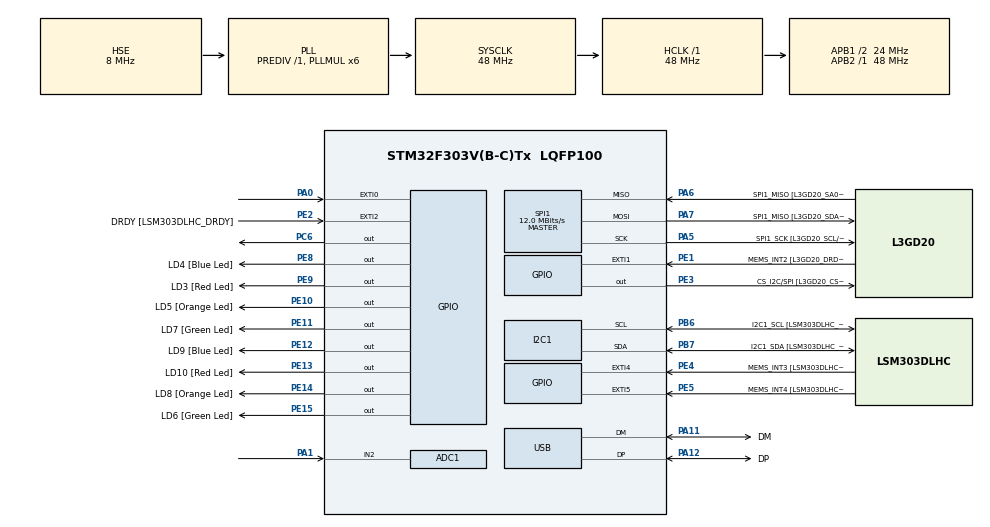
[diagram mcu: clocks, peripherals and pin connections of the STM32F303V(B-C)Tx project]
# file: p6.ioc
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ADC1.Channel-0\#ChannelRegularConversion=ADC_CHANNEL_2
ADC1.NbrOfConversionFlag=1
ADC1.Offset-0\#ChannelRegularConversion=0
ADC1.OffsetNumber-0\#ChannelRegularConversion=ADC_OFFSET_NONE
ADC1.Rank-0\#ChannelRegularConversion=1
ADC1.SamplingTime-0\#ChannelRegularConversion=ADC_SAMPLETIME_601CYCLES_5
ADC1.SamplingTimeOPAMP-0\#ChannelRegularConversion=ADC_SAMPLETIME_19CYCLES_5
ADC1.master=1
I2C1.Timing-I2C=0x2000090E
Mcu.Family=STM32F3
Mcu.Name=STM32F303V(B-C)Tx
Mcu.Package=LQFP100
NVIC.ADC1_2_IRQn=true\:1\:0\:true\:false\:true\:true\:true
NVIC.EXTI0_IRQn=true\:1\:0\:true\:false\:true\:true\:true
NVIC.PriorityGroup=NVIC_PRIORITYGROUP_1
NVIC.TIM2_IRQn=true\:1\:0\:true\:false\:true\:true\:true
NVIC.TIM3_IRQn=true\:0\:0\:false\:false\:true\:true\:true
PA0.GPIO_PuPd=GPIO_PULLDOWN
PA0.Signal=GPXTI0
PA1.Mode=IN2-Single-Ended
PA1.Signal=ADC1_IN2
PA11.GPIO_Label=DM
PA11.Mode=Device
PA11.Signal=USB_DM
PA12.GPIO_Label=DP
PA12.Mode=Device
PA12.Signal=USB_DP
PA13.GPIO_Label=SWDIO
PA13.Mode=Serial_Wire
PA13.Signal=SYS_JTMS-SWDIO
PA14.GPIO_Label=SWCLK
PA14.Mode=Serial_Wire
PA14.Signal=SYS_JTCK-SWCLK
PA5.GPIO_Label=SPI1_SCK [L3GD20_SCL/SPC]
PA5.Mode=Full_Duplex_Master
PA5.Signal=SPI1_SCK
PA6.GPIO_Label=SPI1_MISO [L3GD20_SA0/SDO]
PA6.Mode=Full_Duplex_Master
PA6.Signal=SPI1_MISO
PA7.GPIO_Label=SPI1_MISO [L3GD20_SDA/SDI/SDO]
PA7.Mode=Full_Duplex_Master
PA7.Signal=SPI1_MOSI
PB3.GPIO_Label=SWO
PB3.Signal=SYS_JTDO-TRACESWO
PB6.GPIO_Label=I2C1_SCL [LSM303DLHC_SCL]
PB6.GPIO_Pu=GPIO_PULLUP
PB6.Mode=I2C
PB6.Signal=I2C1_SCL
PB7.GPIO_Label=I2C1_SDA [LSM303DLHC_SDA]
PB7.GPIO_Pu=GPIO_PULLUP
PB7.Mode=I2C
PB7.Signal=I2C1_SDA
PC14-OSC32_IN.GPIO_Label=OSC32_IN
PC14-OSC32_IN.Signal=RCC_OSC32_IN
PC15-OSC32_OUT.GPIO_Label=OSC32_OUT
PC15-OSC32_OUT.Signal=RCC_OSC32_OUT
PC6.GPIO_PuPd=GPIO_PULLDOWN
PC6.GPIO_Speed=GPIO_SPEED_FREQ_HIGH
PC6.PinState=GPIO_PIN_SET
PC6.Signal=GPIO_Output
PE1.GPIO_Label=MEMS_INT2 [L3GD20_DRDY/INT2]
PE1.GPIO_ModeDefaultEXTI=GPIO_MODE_EVT_RISING
PE1.Signal=GPXTI1
PE10.GPIO_Label=LD5 [Orange Led]
PE10.Signal=GPIO_Output
PE11.GPIO_Label=LD7 [Green Led]
PE11.Signal=GPIO_Output
PE12.GPIO_Label=LD9 [Blue Led]
PE12.Signal=GPIO_Output
PE13.GPIO_Label=LD10 [Red Led]
PE13.Signal=GPIO_Output
PE14.GPIO_Label=LD8 [Orange Led]
PE14.Signal=GPIO_Output
PE15.GPIO_Label=LD6 [Green Led]
PE15.Signal=GPIO_Output
PE2.GPIO_Label=DRDY [LSM303DLHC_DRDY]
PE2.GPIO_ModeDefaultEXTI=GPIO_MODE_EVT_RISING
PE2.Signal=GPXTI2
PE3.GPIO_Label=CS_I2C/SPI [L3GD20_CS_I2C/SPI]
PE3.Signal=GPIO_Output
PE4.GPIO_Label=MEMS_INT3 [LSM303DLHC_INT1]
PE4.GPIO_ModeDefaultEXTI=GPIO_MODE_EVT_RISING
PE4.Signal=GPXTI4
PE5.GPIO_Label=MEMS_INT4 [LSM303DLHC_INT2]
PE5.GPIO_ModeDefaultEXTI=GPIO_MODE_EVT_RISING
PE5.Signal=GPXTI5
PE8.GPIO_Label=LD4 [Blue Led]
PE8.Signal=GPIO_Output
PE9.GPIO_Label=LD3 [Red Led]
PE9.Signal=GPIO_Output
PF0-OSC_IN.GPIO_Label=OSC_IN
PF0-OSC_IN.Mode=HSE-External-Clock-Source
PF0-OSC_IN.Signal=RCC_OSC_IN
PF1-OSC_OUT.GPIO_Label=OSC_OUT
PF1-OSC_OUT.Signal=RCC_OSC_OUT
ProjectManager.HeapSize=0x200
ProjectManager.StackSize=0x400
ProjectManager.TargetToolchain=STM32CubeIDE
RCC.AHBFreq_Value=48000000
RCC.APB1CLKDivider=RCC_HCLK_DIV2
RCC.APB1Freq_Value=24000000
RCC.APB1TimFreq_Value=48000000
RCC.APB2Freq_Value=48000000
RCC.APB2TimFreq_Value=48000000
RCC.CortexFreq_Value=48000000
RCC.HCLKFreq_Value=48000000
RCC.HSE_VALUE=8000000
RCC.HSI_VALUE=8000000
RCC.LSE_VALUE=32768
RCC.PLLMUL=RCC_PLL_MUL6
RCC.SYSCLKFreq_VALUE=48000000
RCC.SYSCLKSourceVirtual=RCC_SYSCLKSOURCE_PLLCLK
RCC.USBFreq_Value=48000000
RTC.AsynchPrediv=39
RTC.SynchPrediv=999
SPI1.BaudRatePrescaler=SPI_BAUDRATEPRESCALER_4
SPI1.BaudRatePrescaler-Full_Duplex_Master=SPI_BAUDRATEPRESCALER_2
SPI1.CalculateBaudRate=12.0 MBits/s
SPI1.CalculateBaudRate-Full_Duplex_Master=24.0 MBits/s
SPI1.Direction=SPI_DIRECTION_2LINES
SPI1.Mode=SPI_MODE_MASTER
SPI1.Mode-Full_Duplex_Master=SPI_MODE_MASTER
SPI1.VirtualType=VM_MASTER
TIM2.Period=9999
TIM2.Prescaler=4799
TIM3.Period=9999
TIM3.Prescaler=9599
VP_RTC_VS_RTC_Activate.Mode=RTC_Enabled
VP_RTC_VS_RTC_Calendar.Mode=RTC_Calendar
VP_TIM2_VS_ClockSourceINT.Mode=Internal
VP_TIM3_VS_ClockSourceINT.Mode=Internal
board=STM32F3DISCOVERY

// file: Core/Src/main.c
/* USER CODE BEGIN Header */
/**
  ******************************************************************************
  * @file           : main.c
  * @brief          : Main program body
  ******************************************************************************
  * @attention
  *
  * <h2><center>&copy; Copyright (c) 2022 STMicroelectronics.
  * All rights reserved.</center></h2>
  *
  * This software component is licensed by ST under BSD 3-Clause license,
  * the "License"; You may not use this file except in compliance with the
  * License. You may obtain a copy of the License at:
  *                        opensource.org/licenses/BSD-3-Clause
  *
  ******************************************************************************
  */
/* USER CODE END Header */
#include "main.h"

/* USER CODE BEGIN Includes */
#include "LiquidCrystal.h"
#include <stdio.h>
#include <stdlib.h>
/* USER CODE END Includes */

ADC_HandleTypeDef hadc1;

I2C_HandleTypeDef hi2c1;

RTC_HandleTypeDef hrtc;

SPI_HandleTypeDef hspi1;

TIM_HandleTypeDef htim2;
TIM_HandleTypeDef htim3;

PCD_HandleTypeDef hpcd_USB_FS;

void SystemClock_Config(void);
static void MX_GPIO_Init(void);
static void MX_I2C1_Init(void);
static void MX_SPI1_Init(void);
static void MX_USB_PCD_Init(void);
static void MX_ADC1_Init(void);
static void MX_RTC_Init(void);
static void MX_TIM2_Init(void);
static void MX_TIM3_Init(void);

/* USER CODE BEGIN 0 */
typedef unsigned char byte;

byte h[] = {
  0x00,
  0x04,
  0x0A,
  0x01,
  0x1F,
  0x00,
  0x00,
  0x00
};

byte r[] = {
  0x00,
  0x00,
  0x00,
  0x00,
  0x01,
  0x02,
  0x04,
  0x08
};

byte ka[] = {
  0x02,
  0x04,
  0x08,
  0x10,
  0x00,
  0x00,
  0x00,
  0x00
};

byte k[] = {
  0x00,
  0x00,
  0x00,
  0x00,
  0x01,
  0x01,
  0x09,
  0x1F
};

byte t[] = {
  0x00,
  0x00,
  0x00,
  0x00,
  0x00,
  0x05,
  0x10,
  0x1F
};

byte d[] = {
  0x00,
  0x00,
  0x0C,
  0x02,
  0x01,
  0x02,
  0x0C,
  0x00
};

byte y[] = {
  0x00,
  0x00,
  0x00,
  0x01,
  0x01,
  0x1F,
  0x00,
  0x0A
};

void warning() {
	//LiquidCrystal(GPIOD, GPIO_PIN_8, GPIO_PIN_9, GPIO_PIN_10, GPIO_PIN_11, GPIO_PIN_12, GPIO_PIN_13, GPIO_PIN_14);

	createChar(0, h);
	createChar(1, r);
	createChar(2, ka);
	createChar(3, k);
	createChar(4, t);

	createChar(5, d);
	createChar(6, y);
	createChar(7, d);

	setCursor(6,1);
	write(7);
	write(6);
	write(5);

	write(4);
	write(3);
	write(2);
	write(1);
	write(0);
}

RTC_DateTypeDef mydate;
RTC_TimeTypeDef mytime;

uint8_t Time[5];
uint8_t Date[9];
void timeAndDate() {
	LiquidCrystal(GPIOD, GPIO_PIN_8, GPIO_PIN_9, GPIO_PIN_10, GPIO_PIN_11, GPIO_PIN_12, GPIO_PIN_13, GPIO_PIN_14);

	mytime.Hours=12;
	mytime.Minutes=8;
	mytime.Seconds=50;

	HAL_RTC_SetTime(&hrtc, &mytime, RTC_FORMAT_BIN);

	mydate.Year=23;
	mydate.Month=1;
	mydate.Date=7;

	HAL_RTC_SetDate(&hrtc, &mydate, RTC_FORMAT_BIN);

}

void get_time_date() {
	HAL_RTC_GetTime(&hrtc, &mytime, RTC_FORMAT_BIN);
  	HAL_RTC_GetDate(&hrtc, &mydate, RTC_FORMAT_BIN);

  	setCursor(0,0);
	sprintf(Time, "%2d:%2d:%2d ", mytime.Hours, mytime.Minutes, mytime.Seconds);
	print(Time);

	sprintf(Date, "20%d/%d/%d", mydate.Year, mydate.Month, mydate.Date);
	print(Date);
}

/* USER CODE END 0 */

int main(void)
{

  /* MCU Configuration--------------------------------------------------------*/

  /* Reset of all peripherals, Initializes the Flash interface and the Systick. */
  HAL_Init();

  /* Configure the system clock */
  SystemClock_Config();

  /* Initialize all configured peripherals */
  MX_GPIO_Init();
  MX_I2C1_Init();
  MX_SPI1_Init();
  MX_USB_PCD_Init();
  MX_ADC1_Init();
  MX_RTC_Init();
  MX_TIM2_Init();
  MX_TIM3_Init();
  /* USER CODE BEGIN 2 */

  timeAndDate();

  HAL_TIM_Base_Start_IT(&htim2);
  HAL_ADC_Start_IT(&hadc1);
  HAL_TIM_Base_Start_IT(&htim3);

  //warning();

  //HAL_GPIO_WritePin(GPIOC, GPIO_PIN_6, 0);

  /* USER CODE END 2 */

  /* Infinite loop */
  while (1)
  {

  }
}

void SystemClock_Config(void)
{
  RCC_OscInitTypeDef RCC_OscInitStruct = {0};
  RCC_ClkInitTypeDef RCC_ClkInitStruct = {0};
  RCC_PeriphCLKInitTypeDef PeriphClkInit = {0};

  /** Initializes the RCC Oscillators according to the specified parameters
  * in the RCC_OscInitTypeDef structure.
  */
  RCC_OscInitStruct.OscillatorType = RCC_OSCILLATORTYPE_HSI|RCC_OSCILLATORTYPE_LSI
                              |RCC_OSCILLATORTYPE_HSE;
  RCC_OscInitStruct.HSEState = RCC_HSE_BYPASS;
  RCC_OscInitStruct.HSEPredivValue = RCC_HSE_PREDIV_DIV1;
  RCC_OscInitStruct.HSIState = RCC_HSI_ON;
  RCC_OscInitStruct.HSICalibrationValue = RCC_HSICALIBRATION_DEFAULT;
  RCC_OscInitStruct.LSIState = RCC_LSI_ON;
  RCC_OscInitStruct.PLL.PLLState = RCC_PLL_ON;
  RCC_OscInitStruct.PLL.PLLSource = RCC_PLLSOURCE_HSE;
  RCC_OscInitStruct.PLL.PLLMUL = RCC_PLL_MUL6;
  if (HAL_RCC_OscConfig(&RCC_OscInitStruct) != HAL_OK)
  {
    Error_Handler();
  }
  /** Initializes the CPU, AHB and APB buses clocks
  */
  RCC_ClkInitStruct.ClockType = RCC_CLOCKTYPE_HCLK|RCC_CLOCKTYPE_SYSCLK
                              |RCC_CLOCKTYPE_PCLK1|RCC_CLOCKTYPE_PCLK2;
  RCC_ClkInitStruct.SYSCLKSource = RCC_SYSCLKSOURCE_PLLCLK;
  RCC_ClkInitStruct.AHBCLKDivider = RCC_SYSCLK_DIV1;
  RCC_ClkInitStruct.APB1CLKDivider = RCC_HCLK_DIV2;
  RCC_ClkInitStruct.APB2CLKDivider = RCC_HCLK_DIV1;

  if (HAL_RCC_ClockConfig(&RCC_ClkInitStruct, FLASH_LATENCY_1) != HAL_OK)
  {
    Error_Handler();
  }
  PeriphClkInit.PeriphClockSelection = RCC_PERIPHCLK_USB|RCC_PERIPHCLK_I2C1
                              |RCC_PERIPHCLK_RTC|RCC_PERIPHCLK_ADC12;
  PeriphClkInit.Adc12ClockSelection = RCC_ADC12PLLCLK_DIV1;
  PeriphClkInit.I2c1ClockSelection = RCC_I2C1CLKSOURCE_HSI;
  PeriphClkInit.RTCClockSelection = RCC_RTCCLKSOURCE_LSI;
  PeriphClkInit.USBClockSelection = RCC_USBCLKSOURCE_PLL;
  if (HAL_RCCEx_PeriphCLKConfig(&PeriphClkInit) != HAL_OK)
  {
    Error_Handler();
  }
}

static void MX_ADC1_Init(void)
{

  ADC_MultiModeTypeDef multimode = {0};
  ADC_ChannelConfTypeDef sConfig = {0};

  /** Common config
  */
  hadc1.Instance = ADC1;
  hadc1.Init.ClockPrescaler = ADC_CLOCK_ASYNC_DIV1;
  hadc1.Init.Resolution = ADC_RESOLUTION_12B;
  hadc1.Init.ScanConvMode = ADC_SCAN_DISABLE;
  hadc1.Init.ContinuousConvMode = DISABLE;
  hadc1.Init.DiscontinuousConvMode = DISABLE;
  hadc1.Init.ExternalTrigConvEdge = ADC_EXTERNALTRIGCONVEDGE_NONE;
  hadc1.Init.ExternalTrigConv = ADC_SOFTWARE_START;
  hadc1.Init.DataAlign = ADC_DATAALIGN_RIGHT;
  hadc1.Init.NbrOfConversion = 1;
  hadc1.Init.DMAContinuousRequests = DISABLE;
  hadc1.Init.EOCSelection = ADC_EOC_SINGLE_CONV;
  hadc1.Init.LowPowerAutoWait = DISABLE;
  hadc1.Init.Overrun = ADC_OVR_DATA_OVERWRITTEN;
  if (HAL_ADC_Init(&hadc1) != HAL_OK)
  {
    Error_Handler();
  }
  /** Configure the ADC multi-mode
  */
  multimode.Mode = ADC_MODE_INDEPENDENT;
  if (HAL_ADCEx_MultiModeConfigChannel(&hadc1, &multimode) != HAL_OK)
  {
    Error_Handler();
  }
  /** Configure Regular Channel
  */
  sConfig.Channel = ADC_CHANNEL_2;
  sConfig.Rank = ADC_REGULAR_RANK_1;
  sConfig.SingleDiff = ADC_SINGLE_ENDED;
  sConfig.SamplingTime = ADC_SAMPLETIME_601CYCLES_5;
  sConfig.OffsetNumber = ADC_OFFSET_NONE;
  sConfig.Offset = 0;
  if (HAL_ADC_ConfigChannel(&hadc1, &sConfig) != HAL_OK)
  {
    Error_Handler();
  }

}

static void MX_I2C1_Init(void)
{

  hi2c1.Instance = I2C1;
  hi2c1.Init.Timing = 0x2000090E;
  hi2c1.Init.OwnAddress1 = 0;
  hi2c1.Init.AddressingMode = I2C_ADDRESSINGMODE_7BIT;
  hi2c1.Init.DualAddressMode = I2C_DUALADDRESS_DISABLE;
  hi2c1.Init.OwnAddress2 = 0;
  hi2c1.Init.OwnAddress2Masks = I2C_OA2_NOMASK;
  hi2c1.Init.GeneralCallMode = I2C_GENERALCALL_DISABLE;
  hi2c1.Init.NoStretchMode = I2C_NOSTRETCH_DISABLE;
  if (HAL_I2C_Init(&hi2c1) != HAL_OK)
  {
    Error_Handler();
  }
  /** Configure Analogue filter
  */
  if (HAL_I2CEx_ConfigAnalogFilter(&hi2c1, I2C_ANALOGFILTER_ENABLE) != HAL_OK)
  {
    Error_Handler();
  }
  /** Configure Digital filter
  */
  if (HAL_I2CEx_ConfigDigitalFilter(&hi2c1, 0) != HAL_OK)
  {
    Error_Handler();
  }

}

static void MX_RTC_Init(void)
{

  RTC_TimeTypeDef sTime = {0};
  RTC_DateTypeDef sDate = {0};

  /** Initialize RTC Only
  */
  hrtc.Instance = RTC;
  hrtc.Init.HourFormat = RTC_HOURFORMAT_24;
  hrtc.Init.AsynchPrediv = 39;
  hrtc.Init.SynchPrediv = 999;
  hrtc.Init.OutPut = RTC_OUTPUT_DISABLE;
  hrtc.Init.OutPutPolarity = RTC_OUTPUT_POLARITY_HIGH;
  hrtc.Init.OutPutType = RTC_OUTPUT_TYPE_OPENDRAIN;
  if (HAL_RTC_Init(&hrtc) != HAL_OK)
  {
    Error_Handler();
  }

  /** Initialize RTC and set the Time and Date
  */
  sTime.Hours = 0x0;
  sTime.Minutes = 0x0;
  sTime.Seconds = 0x0;
  sTime.DayLightSaving = RTC_DAYLIGHTSAVING_NONE;
  sTime.StoreOperation = RTC_STOREOPERATION_RESET;
  if (HAL_RTC_SetTime(&hrtc, &sTime, RTC_FORMAT_BCD) != HAL_OK)
  {
    Error_Handler();
  }
  sDate.WeekDay = RTC_WEEKDAY_MONDAY;
  sDate.Month = RTC_MONTH_JANUARY;
  sDate.Date = 0x1;
  sDate.Year = 0x0;

  if (HAL_RTC_SetDate(&hrtc, &sDate, RTC_FORMAT_BCD) != HAL_OK)
  {
    Error_Handler();
  }

}

static void MX_SPI1_Init(void)
{

  /* SPI1 parameter configuration*/
  hspi1.Instance = SPI1;
  hspi1.Init.Mode = SPI_MODE_MASTER;
  hspi1.Init.Direction = SPI_DIRECTION_2LINES;
  hspi1.Init.DataSize = SPI_DATASIZE_4BIT;
  hspi1.Init.CLKPolarity = SPI_POLARITY_LOW;
  hspi1.Init.CLKPhase = SPI_PHASE_1EDGE;
  hspi1.Init.NSS = SPI_NSS_SOFT;
  hspi1.Init.BaudRatePrescaler = SPI_BAUDRATEPRESCALER_4;
  hspi1.Init.FirstBit = SPI_FIRSTBIT_MSB;
  hspi1.Init.TIMode = SPI_TIMODE_DISABLE;
  hspi1.Init.CRCCalculation = SPI_CRCCALCULATION_DISABLE;
  hspi1.Init.CRCPolynomial = 7;
  hspi1.Init.CRCLength = SPI_CRC_LENGTH_DATASIZE;
  hspi1.Init.NSSPMode = SPI_NSS_PULSE_ENABLE;
  if (HAL_SPI_Init(&hspi1) != HAL_OK)
  {
    Error_Handler();
  }

}

static void MX_TIM2_Init(void)
{

  TIM_ClockConfigTypeDef sClockSourceConfig = {0};
  TIM_MasterConfigTypeDef sMasterConfig = {0};

  htim2.Instance = TIM2;
  htim2.Init.Prescaler = 4799;
  htim2.Init.CounterMode = TIM_COUNTERMODE_UP;
  htim2.Init.Period = 9999;
  htim2.Init.ClockDivision = TIM_CLOCKDIVISION_DIV1;
  htim2.Init.AutoReloadPreload = TIM_AUTORELOAD_PRELOAD_DISABLE;
  if (HAL_TIM_Base_Init(&htim2) != HAL_OK)
  {
    Error_Handler();
  }
  sClockSourceConfig.ClockSource = TIM_CLOCKSOURCE_INTERNAL;
  if (HAL_TIM_ConfigClockSource(&htim2, &sClockSourceConfig) != HAL_OK)
  {
    Error_Handler();
  }
  sMasterConfig.MasterOutputTrigger = TIM_TRGO_RESET;
  sMasterConfig.MasterSlaveMode = TIM_MASTERSLAVEMODE_DISABLE;
  if (HAL_TIMEx_MasterConfigSynchronization(&htim2, &sMasterConfig) != HAL_OK)
  {
    Error_Handler();
  }

}

static void MX_TIM3_Init(void)
{

  TIM_ClockConfigTypeDef sClockSourceConfig = {0};
  TIM_MasterConfigTypeDef sMasterConfig = {0};

  htim3.Instance = TIM3;
  htim3.Init.Prescaler = 9599;
  htim3.Init.CounterMode = TIM_COUNTERMODE_UP;
  htim3.Init.Period = 9999;
  htim3.Init.ClockDivision = TIM_CLOCKDIVISION_DIV1;
  htim3.Init.AutoReloadPreload = TIM_AUTORELOAD_PRELOAD_DISABLE;
  if (HAL_TIM_Base_Init(&htim3) != HAL_OK)
  {
    Error_Handler();
  }
  sClockSourceConfig.ClockSource = TIM_CLOCKSOURCE_INTERNAL;
  if (HAL_TIM_ConfigClockSource(&htim3, &sClockSourceConfig) != HAL_OK)
  {
    Error_Handler();
  }
  sMasterConfig.MasterOutputTrigger = TIM_TRGO_RESET;
  sMasterConfig.MasterSlaveMode = TIM_MASTERSLAVEMODE_DISABLE;
  if (HAL_TIMEx_MasterConfigSynchronization(&htim3, &sMasterConfig) != HAL_OK)
  {
    Error_Handler();
  }

}

static void MX_USB_PCD_Init(void)
{

  hpcd_USB_FS.Instance = USB;
  hpcd_USB_FS.Init.dev_endpoints = 8;
  hpcd_USB_FS.Init.speed = PCD_SPEED_FULL;
  hpcd_USB_FS.Init.phy_itface = PCD_PHY_EMBEDDED;
  hpcd_USB_FS.Init.low_power_enable = DISABLE;
  hpcd_USB_FS.Init.battery_charging_enable = DISABLE;
  if (HAL_PCD_Init(&hpcd_USB_FS) != HAL_OK)
  {
    Error_Handler();
  }

}

static void MX_GPIO_Init(void)
{
  GPIO_InitTypeDef GPIO_InitStruct = {0};

  /* GPIO Ports Clock Enable */
  __HAL_RCC_GPIOE_CLK_ENABLE();
  __HAL_RCC_GPIOC_CLK_ENABLE();
  __HAL_RCC_GPIOF_CLK_ENABLE();
  __HAL_RCC_GPIOA_CLK_ENABLE();
  __HAL_RCC_GPIOB_CLK_ENABLE();

  /*Configure GPIO pin Output Level */
  HAL_GPIO_WritePin(GPIOE, CS_I2C_SPI_Pin|LD4_Pin|LD3_Pin|LD5_Pin
                          |LD7_Pin|LD9_Pin|LD10_Pin|LD8_Pin
                          |LD6_Pin, GPIO_PIN_RESET);

  /*Configure GPIO pin Output Level */
  HAL_GPIO_WritePin(GPIOC, GPIO_PIN_6, GPIO_PIN_SET);

  /*Configure GPIO pins : DRDY_Pin MEMS_INT3_Pin MEMS_INT4_Pin MEMS_INT2_Pin */
  GPIO_InitStruct.Pin = DRDY_Pin|MEMS_INT3_Pin|MEMS_INT4_Pin|MEMS_INT2_Pin;
  GPIO_InitStruct.Mode = GPIO_MODE_EVT_RISING;
  GPIO_InitStruct.Pull = GPIO_NOPULL;
  HAL_GPIO_Init(GPIOE, &GPIO_InitStruct);

  /*Configure GPIO pins : CS_I2C_SPI_Pin LD4_Pin LD3_Pin LD5_Pin
                           LD7_Pin LD9_Pin LD10_Pin LD8_Pin
                           LD6_Pin */
  GPIO_InitStruct.Pin = CS_I2C_SPI_Pin|LD4_Pin|LD3_Pin|LD5_Pin
                          |LD7_Pin|LD9_Pin|LD10_Pin|LD8_Pin
                          |LD6_Pin;
  GPIO_InitStruct.Mode = GPIO_MODE_OUTPUT_PP;
  GPIO_InitStruct.Pull = GPIO_NOPULL;
  GPIO_InitStruct.Speed = GPIO_SPEED_FREQ_LOW;
  HAL_GPIO_Init(GPIOE, &GPIO_InitStruct);

  /*Configure GPIO pin : PA0 */
  GPIO_InitStruct.Pin = GPIO_PIN_0;
  GPIO_InitStruct.Mode = GPIO_MODE_IT_RISING;
  GPIO_InitStruct.Pull = GPIO_PULLDOWN;
  HAL_GPIO_Init(GPIOA, &GPIO_InitStruct);

  /*Configure GPIO pin : PC6 */
  GPIO_InitStruct.Pin = GPIO_PIN_6;
  GPIO_InitStruct.Mode = GPIO_MODE_OUTPUT_PP;
  GPIO_InitStruct.Pull = GPIO_PULLDOWN;
  GPIO_InitStruct.Speed = GPIO_SPEED_FREQ_HIGH;
  HAL_GPIO_Init(GPIOC, &GPIO_InitStruct);

  /* EXTI interrupt init*/
  HAL_NVIC_SetPriority(EXTI0_IRQn, 1, 0);
  HAL_NVIC_EnableIRQ(EXTI0_IRQn);

}

void Error_Handler(void)
{
  __disable_irq();
  while (1)
  {
  }
}

/************************ (C) COPYRIGHT STMicroelectronics *****END OF FILE****/
